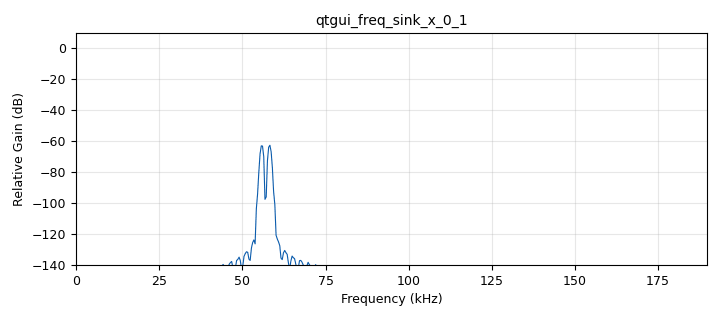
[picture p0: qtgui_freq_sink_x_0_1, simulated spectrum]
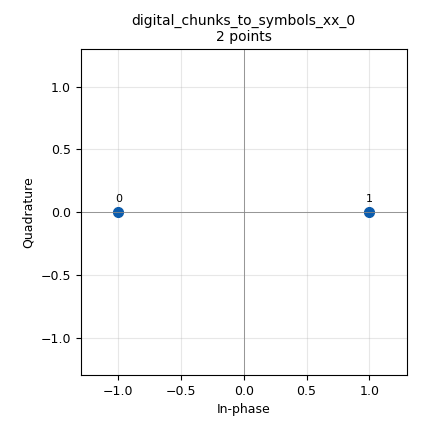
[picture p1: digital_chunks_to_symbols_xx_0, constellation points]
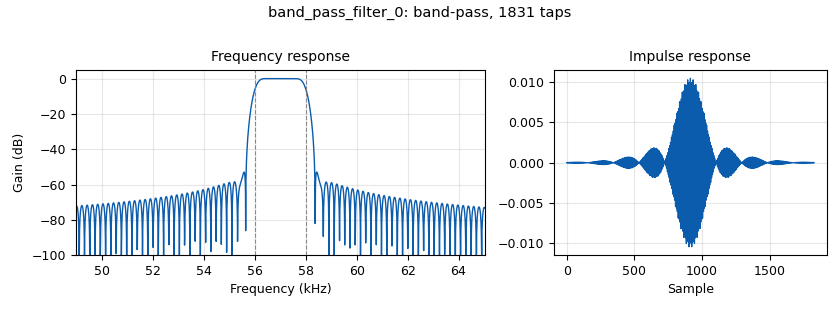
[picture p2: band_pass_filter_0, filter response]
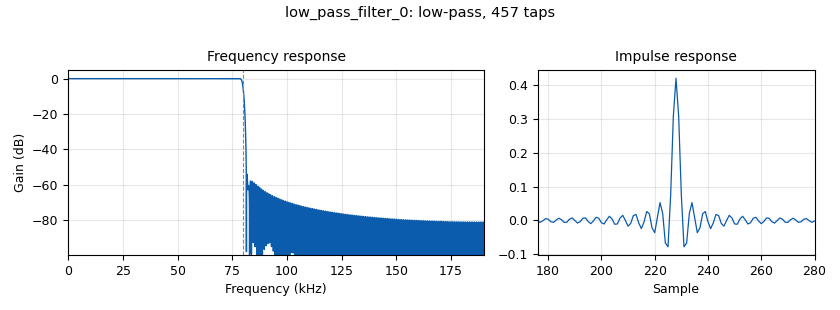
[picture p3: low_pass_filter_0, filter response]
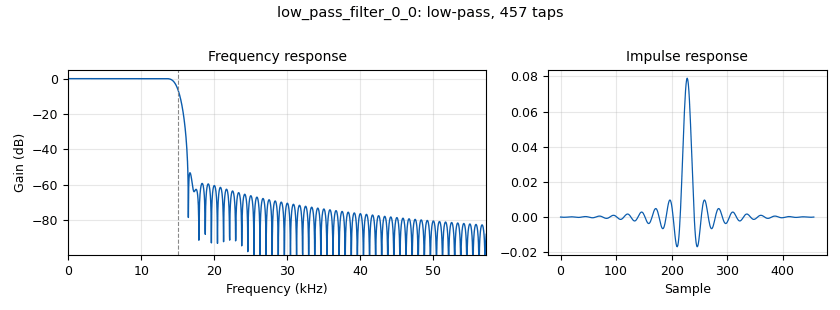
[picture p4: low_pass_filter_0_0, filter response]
options:
  parameters:
    category: RDS
    generate_options: qt_gui
    id: rds_tx
    output_language: python
    realtime_scheduling: '1'
  states: {}

blocks:
- name: audio_rate
  id: variable
  parameters:
    value: '44100'
  states: {}
- name: fm_max_dev
  id: variable
  parameters:
    value: 4.5*75e3
  states: {}
- name: freq
  id: variable
  parameters:
    value: 87.9e6
  states: {}
- name: input_gain
  id: variable
  parameters:
    value: '10e-6'
  states: {}
- name: outbuffer
  id: variable
  parameters:
    value: '128'
  states: {}
- name: pilot_gain
  id: variable_qtgui_range
  parameters:
    gui_hint: main_tab@2
    label: Stereo pilot gain
    start: '0'
    step: '1e-3'
    stop: '500e-3'
    value: '10e-4'
  states: {}
- name: stereo_gain
  id: variable_qtgui_range
  parameters:
    gui_hint: main_tab@2
    label: Stereo Gain
    start: '0'
    step: '1e-3'
    stop: '300e-2'
    value: '300e-3'
  states: {}
- name: usrp_rate
  id: variable
  parameters:
    value: 0.380e6
  states: {}
- name: usrp_sample_rate
  id: variable
  parameters:
    value: 1e6
  states: {}
- name: analog_fm_preemph_0
  id: analog_fm_preemph
  parameters:
    fh: '-1.0'
    samp_rate: '44100'
    tau: '50e-6'
  states: {}
- name: analog_fm_preemph_1
  id: analog_fm_preemph
  parameters:
    fh: '-1.0'
    samp_rate: '44100'
    tau: '50e-6'
  states: {}
- name: band_pass_filter_0
  id: band_pass_filter
  parameters:
    gain: '1'
    high_cutoff_freq: '58000'
    interp: '1'
    low_cutoff_freq: '56000'
    samp_rate: usrp_rate
    type: interp_fir_filter_fff
    width: '500'
    win: window.WIN_HAMMING
  states: {}
- name: blocks_multiply_const_vxx_0
  id: blocks_multiply_const_vxx
  parameters:
    const: '4'
    type: float
  states: {}
- name: blocks_multiply_const_vxx_0_0
  id: blocks_multiply_const_vxx
  parameters:
    const: '0.9'
    maxoutbuf: outbuffer
    type: float
  states: {}
- name: blocks_multiply_const_vxx_0_0_1
  id: blocks_multiply_const_vxx
  parameters:
    const: pilot_gain*10
    type: float
  states: {}
- name: blocks_multiply_const_xx_0
  id: blocks_multiply_const_xx
  parameters:
    const: '10E-2'
    type: float
  states: {}
- name: blocks_multiply_const_xx_1
  id: blocks_multiply_const_xx
  parameters:
    const: '30E-2'
    type: float
  states: {}
- name: blocks_multiply_xx_0
  id: blocks_multiply_xx
  parameters:
    type: float
  states: {}
- name: blocks_multiply_xx_0_0
  id: blocks_multiply_xx
  parameters:
    type: float
  states: {}
- name: blocks_wavfile_source_0
  id: blocks_wavfile_source
  parameters:
    file: C:\Users\szymo\Downloads\TRPZ_like_feeling.wav
    nchan: '2'
    repeat: 'True'
  states: {}
- name: digital_chunks_to_symbols_xx_0
  id: digital_chunks_to_symbols_xx
  parameters:
    dimension: '1'
    in_type: byte
    out_type: float
    symbol_table: '[-1, 1]'
  states: {}
- name: epy_block_0
  id: epy_block
  parameters:
    _source_code: |-
      import numpy as np
      from gnuradio import gr
      import datetime

      try:
          import pmt
      except ImportError:
          try:
              from gnuradio import pmt
          except ImportError:
              pass
      # -----------------------------

      class rds_encoder_simplified(gr.sync_block):
          """
          Simplified L2 RDS (Radio Data System) Encoder.
          Implements IEC 62106 standard framing and baseband bitstream generation.
          Supports dynamic asynchronous updates for PS (Program Service) and RT (Radio Text) via PMT.
          """
          def __init__(self, ps_name="MOJERADIO", radio_text="Test RDS transmission from GNU Radio"):
              gr.sync_block.__init__(self,
                  name='RDS Encoder Simple',
                  in_sig=None,
                  out_sig=[np.uint8]) # Output: Raw baseband bitstream (0s and 1s)

              # Register message port for runtime configuration (dynamic text updates)
              if 'pmt' in globals():
                  self.message_port_register_in(pmt.intern("rds in"))
                  self.set_msg_handler(pmt.intern("rds in"), self.handle_msg)

              # --- RDS PROTOCOL CONSTANTS & DEFAULTS ---
              self.PI = 0x3012         # Program Identification code (Hex)
              self.PTY = 10            # Program Type (10 = Pop Music)
              self.TP = True           # Traffic Program flag
              self.TA = False          # Traffic Announcement flag
              self.MS = True           # Music/Speech switch
              self.AF1 = 89.0          # Alternative Frequency
              
              # Checkword Offset Words for Block Synchronization (Standard IEC 62106)
              # Order: A, B, C, C', D
              self.OFFSET_WORDS = [0x0FC, 0x198, 0x168, 0x350, 0x1B4]

              # Active groups scheduling configuration
              self.active_groups = {
                  0: 1,  # Group 0A: Basic Tuning and Switching (PS)
                  1: 1,  # Group 1A: Program Item Number and PIN/ECC
                  2: 1,  # Group 2A: Radio Text (RT)
                  4: 1,  # Group 4A: Clock Time and Date (CT)
                  11: 1  # Group 11A: Open Data Application
              }
              
              # Internal state initialization
              self.ps_text = ""
              self.rt_text = ""
              self.set_ps_internal(ps_name)
              self.set_radiotext_internal(radio_text)

              self.d_g0_counter = 0
              self.d_g2_counter = 0
              self.buffers = [] 
              self.d_current_buffer_idx = 0
              self.d_buffer_bit_counter = 0
              
              # Pre-build the initial bitstream sequence
              self.rebuild()

          # --- STRING FORMATTING UTILS ---
          def set_ps_internal(self, text):
              """Formats the PS name to exactly 8 characters as per standard."""
              clean = str(text).upper().replace('\n', '')[:8]
              self.ps_text = clean.ljust(8)

          def set_radiotext_internal(self, text):
              """Formats the Radio Text to exactly 64 characters."""
              clean = str(text).replace('\n', '')[:64]
              self.rt_text = clean.ljust(64)

          # --- ASYNCHRONOUS MESSAGE HANDLER ---
          def handle_msg(self, msg):
              """
              Handles incoming PMT messages to modify RDS data without stopping the flowgraph.
              Accepts formats: 'ps <text>' or 'text <text>'.
              """
              if not pmt.is_pair(msg): return
              try:
                  inp = str(pmt.blob_data(pmt.cdr(msg)).tobytes().decode('ascii')).strip()
                  parts = inp.split(maxsplit=1)
                  cmd = parts[0].lower()
                  arg = parts[1] if len(parts) > 1 else ""
                  
                  if cmd == "ps":
                      self.set_ps_internal(arg)
                      self.rebuild()
                  elif cmd in ["text", "rt"]:
                      self.set_radiotext_internal(arg)
                      self.rebuild()
              except:
                  pass # Failsafe against malformed PMT payloads

          # --- L2 FRAMING & ERROR CORRECTION ---
          def calc_syndrome(self, message, mlen):
              """
              Calculates the 10-bit checkword (CRC/Syndrome) using standard RDS generator polynomial.
              Generator Polynomial: g(x) = x^10 + x^8 + x^7 + x^5 + x^4 + x^3 + 1 (0x5B9)
              """
              reg = 0
              poly = 0x5B9 
              plen = 10
              # Polynomial division algorithm
              for i in range(mlen, 0, -1):
                  reg = (reg << 1) | ((message >> (i - 1)) & 0x01)
                  if (reg & (1 << plen)):
                      reg = reg ^ poly
              for i in range(plen, 0, -1):
                  reg = reg << 1
                  if (reg & (1 << plen)):
                      reg = reg ^ poly
              return reg & ((1 << plen) - 1)

          def encode_af(self, af):
              """Encodes Alternative Frequency (Method A)."""
              if 87.6 <= af <= 107.9: return int(round((af - 87.5) * 10))
              return 0

          # --- BITSTREAM RECONSTRUCTION ---
          def rebuild(self):
              """
              Constructs the complete sequence of physical bits ready for modulation.
              Schedules groups according to priority (e.g., PS needs higher repetition rate than RT).
              """
              self.buffers = []
              
              # 32 time-slot scheduler loop
              for i in range(32):
                  g_type = i % 16
                  is_B = (i >= 16) 
                  
                  if self.active_groups.get(g_type, 0) == 1:
                      repeats = 1
                      if g_type == 0: repeats = 4    # PS needs frequent broadcasting
                      elif g_type == 2: repeats = 16 # RT requires 16 segments to transmit 64 chars
                      
                      for _ in range(repeats):
                          self.create_group(g_type, is_B)
              
              self.d_current_buffer_idx = 0

          def create_group(self, group_type, AB_flag):
              """Assembles a 104-bit RDS group consisting of 4 blocks (26 bits each)."""
              infoword = [0, 0, 0, 0] # 4 words, 16 bits each
              
              # Block 1: PI Code
              infoword[0] = self.PI
              
              # Block 2: Header (Group Type, Traffic Codes, PTY)
              # Structure: [GroupType(4)][AB(1)][TP(1)][PTY(5)][Remaining(5)]
              infoword[1] = ((group_type & 0xF) << 12) | \
                            ((1 if AB_flag else 0) << 11) | \
                            ((1 if self.TP else 0) << 10) | \
                            ((self.PTY & 0x1F) << 5)

              # Group-specific data payload formatting
              if group_type == 0: self.prepare_group0(infoword, AB_flag)
              elif group_type == 1: self.prepare_group1(infoword)
              elif group_type == 2: self.prepare_group2(infoword, AB_flag)
              elif group_type == 4: self.prepare_group4(infoword)
              elif group_type == 11: self.prepare_group11(infoword)

              # Calculate CRC and apply Offset Words (A, B, C/C', D)
              final_block_bits = np.zeros(104, dtype=np.uint8)
              
              for i in range(4):
                  # 1. CRC for 16 payload bits
                  crc = self.calc_syndrome(infoword[i], 16)
                  # 2. Assemble 26-bit block (16 payload + 10 checkword)
                  raw = ((infoword[i] & 0xFFFF) << 10) | (crc & 0x3FF)
                  # 3. Select appropriate offset word for synchronization
                  off_idx = i
                  if i == 2 and AB_flag: off_idx = 3 # Offset C' for Version B
                  elif i == 3: off_idx = 4           # Offset D
                  
                  # 4. XOR masking
                  val_with_offset = raw ^ self.OFFSET_WORDS[off_idx]

                  # 5. Serialize to bits (Big Endian)
                  for b in range(26):
                      bit = (val_with_offset >> (25 - b)) & 0x1
                      final_block_bits[i*26 + b] = bit
              
              self.buffers.append(final_block_bits)

          # --- GROUP PAYLOAD HANDLERS ---
          def prepare_group0(self, info, AB):
              """Group 0A: Basic tuning, TA/MS flags, and PS Name segments."""
              info[1] |= ((1 if self.TA else 0) << 4) | ((1 if self.MS else 0) << 3)
              info[1] |= (self.d_g0_counter & 0x3)
              if self.d_g0_counter == 3: info[1] |= 0x4
              
              # Block 3: AF
              info[2] = (225 << 8) | (self.encode_af(self.AF1) & 0xFF)
              
              # Block 4: 2 characters of PS Name
              idx = self.d_g0_counter * 2
              c1 = ord(self.ps_text[idx])
              c2 = ord(self.ps_text[idx+1])
              info[3] = (c1 << 8) | c2
              
              self.d_g0_counter = (self.d_g0_counter + 1) % 4

          def prepare_group2(self, info, AB):
              """Group 2A: Radio Text (RT) segments."""
              info[1] |= (self.d_g2_counter & 0xF)
              
              # Blocks 3 & 4: 4 characters of Radio Text
              idx = self.d_g2_counter * 4
              c1, c2 = ord(self.rt_text[idx]), ord(self.rt_text[idx+1])
              c3, c4 = ord(self.rt_text[idx+2]), ord(self.rt_text[idx+3])
              
              info[2] = (c1 << 8) | c2
              info[3] = (c3 << 8) | c4
              
              self.d_g2_counter = (self.d_g2_counter + 1) % 16

          def prepare_group4(self, info):
              """Group 4A: Clock Time (CT) calculated via Modified Julian Date."""
              now = datetime.datetime.utcnow()
              Y, M, D = now.year, now.month, now.day
              h, m = now.hour, now.minute
              
              L = 1 if (M <= 2) else 0
              mjd = 14956 + D + int((Y - L) * 365.25) + int((M + 1 + L * 12) * 30.6001)
              
              info[1] |= ((mjd >> 15) & 0x3)
              info[2] = (((mjd >> 7) & 0xFF) << 8) | ((mjd & 0x7F) << 1) | ((h >> 4) & 0x1)
              info[3] = ((h & 0xF) << 12) | (((m >> 2) & 0xF) << 8) | ((m & 0x3) << 6)

          def prepare_group1(self, info):
              info[2], info[3] = 0x80E0, 0x0000
              
          def prepare_group11(self, info):
              info[1] |= 0x1C8
              info[2], info[3] = 0x2038, 0x4456

          # --- DSP WORK STREAM ---
          def work(self, input_items, output_items):
              """
              High-throughput GNU Radio work function.
              Avoids slow Python 'for' loops in favor of vectorized NumPy array slicing.
              """
              out = output_items[0]
              n_out = len(out)
              if not self.buffers: return 0

              written = 0
              while written < n_out:
                  current_buf = self.buffers[self.d_current_buffer_idx]
                  available = len(current_buf) - self.d_buffer_bit_counter
                  to_write = min(available, n_out - written)
                  
                  # Vectorized memory block copy
                  out[written : written + to_write] = current_buf[self.d_buffer_bit_counter : self.d_buffer_bit_counter + to_write]
                  
                  written += to_write
                  self.d_buffer_bit_counter += to_write
                  
                  if self.d_buffer_bit_counter >= len(current_buf):
                      self.d_buffer_bit_counter = 0
                      self.d_current_buffer_idx = (self.d_current_buffer_idx + 1) % len(self.buffers)

              return n_out
    ps_name: '"TRPZ"'
    radio_text: '"TEST RDS"'
  states: {}
- name: epy_block_1
  id: epy_block
  parameters:
    _source_code: |
      import numpy as np
      from gnuradio import gr
      import pmt
      import math
      import datetime
      import time

      class rds_encoder_impl(gr.sync_block):
          def __init__(self, pty_locale=0, pty=0, ms=True, ps="GR-RDS", af1=89.0, 
                       tp=True, ta=False, pi_country_code=0, pi_coverage_area=0, 
                       pi_ref_num=0, radiotext="GNU Radio RDS Encoder", max_latency=-1):
              
              gr.sync_block.__init__(self,
                  name='RDS Encoder',
                  in_sig=None,
                  out_sig=[np.uint8]) # Wyjście to surowe bity 0/1, nie floaty Manchester!

              # Rejestracja portów wiadomości
              self.message_port_register_in(pmt.intern("rds in"))
              self.set_msg_handler(pmt.intern("rds in"), self.handle_msg)
              
              # Stałe RDS (Polynomial 0x5B9) i Offsety
              self.OFFSET_WORDS = [0x0FC, 0x198, 0x168, 0x350, 0x1B4] # A, B, C, C', D
              self.PTY_LOCALES = {0: "RBDS (US)", 1: "RDS (EU)"} # Uproszczone dla logiki

              # Konfiguracja początkowa (odpowiednik konstruktora C++)
              self.pty_locale = pty_locale
              
              if pi_country_code == 0:
                  self.PI = pi_ref_num
              else:
                  self.PI = ((pi_country_code & 0xF) << 12) | \
                            ((pi_coverage_area & 0xF) << 8) | \
                            (pi_ref_num & 0xFF)
              
              self.PTY = pty
              self.TP = tp
              self.TA = ta
              self.MS = ms
              self.AF1 = af1
              
              # Inne flagi
              self.DP = 3
              self.extent = 2
              self.event = 1340
              self.location = 11023
              
              # Bufory tekstowe
              self.set_radiotext_internal(radiotext)
              self.set_ps_internal(ps)
              
              # Konfiguracja grup (jak w C++: groups[i] = 1 oznacza aktywność)
              self.active_groups = {}
              for g in [0, 1, 2, 3, 4, 8, 11]:
                  self.active_groups[g] = 1
                  
              # Liczniki stanu
              self.d_g0_counter = 0
              self.d_g2_counter = 0
              self.d_g3_counter = 0
              
              # Pamięć bufora wyjściowego
              self.buffers = [] # Lista list bitów (nbuffers * 104)
              self.d_current_buffer_idx = 0
              self.d_buffer_bit_counter = 0
              
              # Budowa początkowa
              self.rebuild()

          def calc_syndrome(self, message, mlen):
              """Oblicza CRC (Syndrome) zgodnie z Annex B standardu RDS"""
              reg = 0
              poly = 0x5B9
              plen = 10
              
              for i in range(mlen, 0, -1):
                  reg = (reg << 1) | ((message >> (i - 1)) & 0x01)
                  if (reg & (1 << plen)):
                      reg = reg ^ poly
                      
              for i in range(plen, 0, -1):
                  reg = reg << 1
                  if (reg & (1 << plen)):
                      reg = reg ^ poly
                      
              return reg & ((1 << plen) - 1)

          def encode_af(self, af):
              """Implementacja AF Method A (Standard str. 41)"""
              if 87.6 <= af <= 107.9:
                  return int(round((af - 87.5) * 10))
              elif 153 <= af <= 279:
                  return int(round((af - 144) / 9))
              elif 531 <= af <= 1602:
                  return int(round((af - 531) / 9 + 16))
              return 0 # Invalid

          def set_radiotext_internal(self, text):
              self.rt_text = text[:64].ljust(64) # Max 64 znaki

          def set_ps_internal(self, ps):
              self.ps_text = ps[:8].ljust(8)     # Max 8 znaków

          def handle_msg(self, msg):
              """Parser wiadomości tekstowych, klon logiki Boost Spirit z C++"""
              if not pmt.is_pair(msg): return
              
              blob = pmt.cdr(msg)
              # Konwersja blob na string
              try:
                  inp_str = str(pmt.blob_data(blob).tobytes().decode('ascii')).strip()
              except:
                  return

              print(f"[RDS] Otrzymano komendę: {inp_str}")
              parts = inp_str.split(maxsplit=1)
              if not parts: return
              
              cmd = parts[0].lower()
              arg = parts[1] if len(parts) > 1 else ""

              rebuild_needed = True

              if cmd == "ps":
                  self.set_ps_internal(arg)
              elif cmd == "text":
                  self.set_radiotext_internal(arg)
              elif cmd == "pty":
                  try:
                      val = int(arg, 0) # handles 0x hex
                      self.PTY = val
                  except: pass
              elif cmd == "pi":
                  try:
                      val = int(arg, 0)
                      self.PI = val
                  except: pass
              elif cmd == "ta":
                  self.TA = (arg.lower() in ['1', 'true', 'yes'])
              elif cmd == "tp":
                  self.TP = (arg.lower() in ['1', 'true', 'yes'])
              elif cmd == "ms":
                  self.MS = (arg.lower() in ['1', 'true', 'yes'])
              else:
                  print(f"[RDS] Nieznana komenda: {cmd}")
                  rebuild_needed = False
              
              if rebuild_needed:
                  self.rebuild()

          def rebuild(self):
              """Główna logika planowania sekwencji grup"""
              self.buffers = [] # Czyścimy bufory
              
              # Logika sekwencjonowania z C++ (count_groups i pętle)
              # Iterujemy przez 32 możliwe sloty
              for i in range(32):
                  g_type = i % 16
                  is_B = (i >= 16)
                  
                  if self.active_groups.get(i, 0) == 1:
                      # Jeśli grupa jest aktywna, decydujemy ile razy ją powtórzyć
                      repeats = 1
                      if g_type == 0: repeats = 4
                      elif g_type == 2: repeats = 16 # Radiotext potrzebuje czasu na scroll
                      elif g_type == 3: repeats = 2
                      
                      for _ in range(repeats):
                          self.create_group(g_type, is_B)
              
              self.d_current_buffer_idx = 0
              # print(f"[RDS] Rebuild complete. Buffers: {len(self.buffers)}")

          def create_group(self, group_type, AB_flag):
              """Tworzy 4 bloki (104 bity) dla danej grupy"""
              # Block 1: PI Code (zawsze)
              infoword = [0, 0, 0, 0]
              checkword = [0, 0, 0, 0]
              block = [0, 0, 0, 0]
              
              infoword[0] = self.PI
              # Block 2 Header: Group Type | AB | TP | PTY
              infoword[1] = ((group_type & 0xF) << 12) | \
                            ((1 if AB_flag else 0) << 11) | \
                            ((1 if self.TP else 0) << 10) | \
                            ((self.PTY & 0x1F) << 5)

              # Dispatch do konkretnych handlerów grup
              if group_type == 0:
                  self.prepare_group0(infoword, AB_flag)
              elif group_type == 1:
                  self.prepare_group1a(infoword)
              elif group_type == 2:
                  self.prepare_group2(infoword, AB_flag)
              elif group_type == 3:
                  self.prepare_group3a(infoword)
              elif group_type == 4:
                  self.prepare_group4a(infoword)
              elif group_type == 8:
                  self.prepare_group8a(infoword)
              elif group_type == 11:
                  self.prepare_group11a(infoword)
              else:
                  # Pusta/nieobsługiwana
                  pass

              # Obliczanie CRC i dodawanie Offsetów
              for i in range(4):
                  checkword[i] = self.calc_syndrome(infoword[i], 16)
                  raw_block = ((infoword[i] & 0xFFFF) << 10) | (checkword[i] & 0x3FF)
                  
                  offset_idx = i
                  if i == 2 and AB_flag: # Offset C' (index 3 w tablicy offsetow C++)
                      offset_idx = 3 # C'
                  elif i == 3:
                      offset_idx = 4 # D
                  
                  # Tablica OFFSET_WORDS ma 5 elementow: A, B, C, C', D
                  # mapowanie i:0->A, 1->B, 2->C(lub C'), 3->D
                  xor_val = 0
                  if i == 0: xor_val = self.OFFSET_WORDS[0]
                  elif i == 1: xor_val = self.OFFSET_WORDS[1]
                  elif i == 2: xor_val = self.OFFSET_WORDS[3] if AB_flag else self.OFFSET_WORDS[2]
                  elif i == 3: xor_val = self.OFFSET_WORDS[4]
                  
                  block[i] = raw_block ^ xor_val

              # Pakowanie bitów do bufora (104 bity)
              bit_buffer = np.zeros(104, dtype=np.uint8)
              for i in range(4): # 4 bloki
                  val = block[i]
                  for bit in range(26): # 26 bitów na blok
                      # Big endian bits logic z prepare_buffer w C++
                      is_set = (val >> (25 - bit)) & 0x01
                      bit_buffer[i * 26 + bit] = is_set
                      
              self.buffers.append(bit_buffer)

          # --- Specyficzne Implementacje Grup ---

          def prepare_group0(self, infoword, AB):
              # TA, MS
              infoword[1] |= ((1 if self.TA else 0) << 4)
              infoword[1] |= ((1 if self.MS else 0) << 3)
              # DI (Stereo decoder info) - hardcoded sequence for simple stereo
              infoword[1] |= (self.d_g0_counter & 0x3)
              if self.d_g0_counter == 3: # Stereo flag
                   infoword[1] |= 0x4 # bit 2 (d0)
                   
              # Block 3: AF or PI
              if not AB:
                  # AF
                  af_code = self.encode_af(self.AF1)
                  infoword[2] = (225 << 8) | (af_code & 0xFF)
              else:
                  infoword[2] = self.PI
                  
              # Block 4: PS Segment
              c1 = ord(self.ps_text[2 * self.d_g0_counter])
              c2 = ord(self.ps_text[2 * self.d_g0_counter + 1])
              infoword[3] = (c1 << 8) | c2
              
              self.d_g0_counter = (self.d_g0_counter + 1) % 4

          def prepare_group2(self, infoword, AB):
              # RT Segment index (4 bity)
              infoword[1] |= (self.d_g2_counter & 0xF)
              # Flag A/B change - w tym kodzie statyczne, w C++ zmienia się przy nowym tekście
              # Tutaj upraszczamy, zakładając flagę 0 w bicie 4 (AB flag text)
              
              idx = self.d_g2_counter
              if not AB: # Group 2A
                  c1 = ord(self.rt_text[idx*4])
                  c2 = ord(self.rt_text[idx*4+1])
                  infoword[2] = (c1 << 8) | c2
                  
                  c3 = ord(self.rt_text[idx*4+2])
                  c4 = ord(self.rt_text[idx*4+3])
                  infoword[3] = (c3 << 8) | c4
              else: # Group 2B
                  infoword[2] = self.PI
                  c1 = ord(self.rt_text[idx*2])
                  c2 = ord(self.rt_text[idx*2+1])
                  infoword[3] = (c1 << 8) | c2
                  
              self.d_g2_counter = (self.d_g2_counter + 1) % 16

          def prepare_group1a(self, infoword):
              infoword[2] = (0x80 << 8) | 0xE0 # ECC, Variant 0
              infoword[3] = 0

          def prepare_group3a(self, infoword):
              # Open Data Application (AID)
              if self.d_g3_counter == 1:
                  infoword[1] |= (0x31D0 & 0x1F)
                  infoword[2] = 0x6280
                  infoword[3] = 0xCD46
              else:
                  infoword[1] |= (0x31D0 & 0x1F)
                  infoword[2] = 0x0066
                  infoword[3] = 0xCD46
              self.d_g3_counter = (self.d_g3_counter + 1) % 2

          def prepare_group4a(self, infoword):
              # Clock Time (CT) and Date
              now = datetime.datetime.utcnow()
              Y = now.year
              M = now.month
              D = now.day
              h = now.hour
              m = now.minute
              
              # Obliczenia MJD (Modified Julian Date) wg standardu RDS
              L = 1 if (M == 1 or M == 2) else 0
              mjd = 14956 + D + int((Y - L) * 365.25) + int((M + 1 + L * 12) * 30.6001)
              
              # Local time offset (uproszczone: 0)
              toffset = 0 
              
              infoword[1] |= ((mjd >> 15) & 0x3)
              infoword[2] = (((mjd >> 7) & 0xFF) << 8) | \
                            ((mjd & 0x7F) << 1) | \
                            ((h >> 4) & 0x1)
              infoword[3] = ((h & 0xF) << 12) | \
                            (((m >> 2) & 0xF) << 8) | \
                            ((m & 0x3) << 6) | \
                            ((0 if toffset > 0 else 1) << 5) | \
                            (abs(toffset * 2) & 0x1F)

          def prepare_group8a(self, infoword):
              # TMC (Traffic Message Channel) placeholder
              infoword[1] |= (1 << 3) | (self.DP & 0x7)
              infoword[2] = (1 << 15) | ((self.extent & 0x7) << 11) | (self.event & 0x7FF)
              infoword[3] = self.location

          def prepare_group11a(self, infoword):
              infoword[1] |= (0xB1C8 & 0x1F)
              infoword[2] = 0x2038
              infoword[3] = 0x4456

          def work(self, input_items, output_items):
              out = output_items[0]
              n_out = len(out)
              
              # Jeśli bufor RDS nie jest jeszcze gotowy, nic nie wysyłaj
              if not self.buffers:
                  return 0
                  
              # Pobierz aktualny bufor bitów (104 bity)
              current_buf = self.buffers[self.d_current_buffer_idx]
              buf_len = len(current_buf)
              
              written = 0
              
              # Zamiast wolnej pętli 'for', używamy kopiowania blokowego (Slicing)
              while written < n_out:
                  # Ile bitów zostało w obecnym 'current_buf' do wysłania?
                  available = buf_len - self.d_buffer_bit_counter
                  
                  # Ile możemy zapisać w tym cyklu (nie więcej niż miejsce w wyjściu i nie więcej niż dostępne)
                  to_write = min(available, n_out - written)
                  
                  # SZYBKIE KOPIOWANIE BLOKU DANYCH (Vector copy)
                  out[written : written + to_write] = current_buf[self.d_buffer_bit_counter : self.d_buffer_bit_counter + to_write]
                  
                  written += to_write
                  self.d_buffer_bit_counter += to_write
                  
                  # Jeśli wysłaliśmy cały bieżący bufor RDS (104 bity), przełączamy na następny
                  if self.d_buffer_bit_counter >= buf_len:
                      self.d_buffer_bit_counter = 0
                      self.d_current_buffer_idx = (self.d_current_buffer_idx + 1) % len(self.buffers)
                      current_buf = self.buffers[self.d_current_buffer_idx]
                      buf_len = len(current_buf)
                      
                      # (Opcjonalnie) Tu można wstawić logikę odświeżania czasu co minutę
                      # if self.d_current_buffer_idx == 0: self.rebuild() 

              return n_out
    af1: '88900000'
    max_latency: '12'
    ms: 'True'
    pi_country_code: '3'
    pi_coverage_area: '2'
    pi_ref_num: '1'
    ps: '"Radio Sraka"'
    pty: '10'
    pty_locale: '1'
    radiotext: '"Gramy starego"'
    ta: 'False'
    tp: 'True'
  states: {state: disabled}
- name: gr_add_xx_0
  id: blocks_add_xx
  parameters:
    type: float
  states: {}
- name: gr_add_xx_1
  id: blocks_add_xx
  parameters:
    maxoutbuf: outbuffer
    num_inputs: '4'
    type: float
  states: {}
- name: gr_diff_encoder_bb_0
  id: digital_diff_encoder_bb
  parameters:
    coding: digital.DIFF_DIFFERENTIAL
    maxoutbuf: outbuffer
    modulus: '2'
  states: {}
- name: gr_frequency_modulator_fc_0
  id: analog_frequency_modulator_fc
  parameters:
    maxoutbuf: outbuffer
    sensitivity: 2*math.pi*fm_max_dev/usrp_rate
  states: {}
- name: gr_map_bb_1
  id: digital_map_bb
  parameters:
    map: '[1,2]'
    maxoutbuf: outbuffer
  states: {}
- name: gr_multiply_xx_0
  id: blocks_multiply_xx
  parameters:
    maxoutbuf: outbuffer
    type: float
  states: {}
- name: gr_multiply_xx_1
  id: blocks_multiply_xx
  parameters:
    type: float
  states: {}
- name: gr_sig_source_x_0
  id: analog_sig_source_x
  parameters:
    amp: '1'
    freq: 38e3
    offset: '0'
    phase: '0'
    samp_rate: usrp_rate
    type: float
    waveform: analog.GR_SIN_WAVE
  states: {}
- name: gr_sig_source_x_0_1
  id: analog_sig_source_x
  parameters:
    amp: '1'
    freq: 19e3
    offset: '0'
    phase: '0'
    samp_rate: usrp_rate
    type: float
    waveform: analog.GR_SIN_WAVE
  states: {}
- name: gr_sub_xx_0
  id: blocks_sub_xx
  parameters:
    type: float
  states: {}
- name: gr_unpack_k_bits_bb_0
  id: blocks_unpack_k_bits_bb
  parameters:
    k: '2'
    maxoutbuf: outbuffer
  states: {}
- name: iio_pluto_sink_0
  id: iio_pluto_sink
  parameters:
    attenuation1: '5'
    bandwidth: '200000'
    buffer_size: '32768'
    cyclic: 'False'
    filter_source: '''Auto'''
    frequency: '90500000'
    samplerate: int(usrp_sample_rate)
    type: fc32
    uri: ip:192.168.2.1
  states: {}
- name: import_0
  id: import
  parameters:
    imports: import math
  states: {}
- name: low_pass_filter_0
  id: low_pass_filter
  parameters:
    cutoff_freq: min(80e3,usrp_rate/2)
    gain: '1'
    interp: '1'
    samp_rate: usrp_rate
    type: interp_fir_filter_fff
    width: 2e3
    win: window.WIN_HAMMING
  states: {}
- name: low_pass_filter_0_0
  id: low_pass_filter
  parameters:
    cutoff_freq: 15e3
    gain: '1'
    interp: '1'
    samp_rate: usrp_rate
    type: interp_fir_filter_fff
    width: 2e3
    win: window.WIN_HAMMING
  states: {}
- name: low_pass_filter_0_0_0
  id: low_pass_filter
  parameters:
    cutoff_freq: 15e3
    gain: '1'
    interp: '1'
    samp_rate: usrp_rate
    type: interp_fir_filter_fff
    width: 2e3
    win: window.WIN_HAMMING
  states: {}
- name: main_tab
  id: qtgui_tab_widget
  parameters:
    label0: Spectrum
    label1: Waterfall
    label2: Levels
    num_tabs: '3'
  states: {}
- name: note_5
  id: note
  parameters:
    note: Needs to be above 150k
  states: {}
- name: qtgui_freq_sink_x_0
  id: qtgui_freq_sink_x
  parameters:
    bw: usrp_rate
    fc: '0'
    fftsize: '1024'
    freqhalf: 'False'
    grid: 'True'
    gui_hint: main_tab@0
    showports: 'True'
    type: float
  states: {}
- name: qtgui_freq_sink_x_0_1
  id: qtgui_freq_sink_x
  parameters:
    bw: usrp_rate
    fc: '0'
    fftsize: '1024'
    freqhalf: 'False'
    grid: 'True'
    gui_hint: main_tab@0
    showports: 'True'
    type: float
  states: {}
- name: qtgui_freq_sink_x_0_1_0
  id: qtgui_freq_sink_x
  parameters:
    bw: usrp_rate
    fc: '0'
    fftsize: '1024'
    freqhalf: 'False'
    grid: 'True'
    gui_hint: main_tab@0
    showports: 'True'
    type: float
  states: {state: disabled}
- name: qtgui_waterfall_sink_x_0
  id: qtgui_waterfall_sink_x
  parameters:
    bw: usrp_rate
    fc: '0'
    fftsize: '1024'
    freqhalf: 'False'
    grid: 'True'
    gui_hint: main_tab@1
    type: float
  states: {}
- name: rational_resampler_xxx_0
  id: rational_resampler_xxx
  parameters:
    decim: int(audio_rate/1e2)
    interp: int(usrp_rate/1e2)
    taps: ''
    type: fff
  states: {}
- name: rational_resampler_xxx_0_0
  id: rational_resampler_xxx
  parameters:
    decim: int(audio_rate/1e2)
    interp: int(usrp_rate/1e2)
    taps: ''
    type: fff
  states: {}
- name: rational_resampler_xxx_1
  id: rational_resampler_xxx
  parameters:
    decim: int(usrp_rate/10000)
    interp: int(usrp_sample_rate/1e4)
    taps: ''
    type: ccc
  states: {}
- name: root_raised_cosine_filter_0
  id: root_raised_cosine_filter
  parameters:
    alpha: '1'
    gain: '1'
    interp: '160'
    ntaps: 11*160
    samp_rate: usrp_rate
    sym_rate: '2375'
    type: interp_fir_filter_fff
  states: {}

connections:
- [analog_fm_preemph_0, '0', rational_resampler_xxx_0, '0']
- [analog_fm_preemph_1, '0', rational_resampler_xxx_0_0, '0']
- [band_pass_filter_0, '0', blocks_multiply_const_vxx_0, '0']
- [blocks_multiply_const_vxx_0, '0', gr_multiply_xx_0, '0']
- [blocks_multiply_const_vxx_0, '0', qtgui_freq_sink_x_0_1_0, '0']
- [blocks_multiply_const_vxx_0_0, '0', gr_add_xx_1, '0']
- [blocks_multiply_const_vxx_0_0_1, '0', gr_add_xx_1, '1']
- [blocks_multiply_const_xx_0, '0', low_pass_filter_0_0, '0']
- [blocks_multiply_const_xx_1, '0', low_pass_filter_0_0_0, '0']
- [blocks_multiply_xx_0, '0', blocks_multiply_xx_0_0, '0']
- [blocks_multiply_xx_0_0, '0', band_pass_filter_0, '0']
- [blocks_wavfile_source_0, '0', analog_fm_preemph_0, '0']
- [blocks_wavfile_source_0, '1', analog_fm_preemph_1, '0']
- [digital_chunks_to_symbols_xx_0, '0', root_raised_cosine_filter_0, '0']
- [epy_block_0, '0', gr_diff_encoder_bb_0, '0']
- [epy_block_1, '0', gr_diff_encoder_bb_0, '0']
- [gr_add_xx_0, '0', blocks_multiply_const_xx_0, '0']
- [gr_add_xx_1, '0', low_pass_filter_0, '0']
- [gr_add_xx_1, '0', qtgui_freq_sink_x_0, '0']
- [gr_diff_encoder_bb_0, '0', gr_map_bb_1, '0']
- [gr_frequency_modulator_fc_0, '0', rational_resampler_xxx_1, '0']
- [gr_map_bb_1, '0', gr_unpack_k_bits_bb_0, '0']
- [gr_multiply_xx_0, '0', blocks_multiply_const_vxx_0_0, '0']
- [gr_multiply_xx_0, '0', qtgui_freq_sink_x_0_1, '0']
- [gr_multiply_xx_1, '0', gr_add_xx_1, '3']
- [gr_sig_source_x_0, '0', gr_multiply_xx_1, '1']
- [gr_sig_source_x_0_1, '0', blocks_multiply_const_vxx_0_0_1, '0']
- [gr_sig_source_x_0_1, '0', blocks_multiply_xx_0, '0']
- [gr_sig_source_x_0_1, '0', blocks_multiply_xx_0, '1']
- [gr_sig_source_x_0_1, '0', blocks_multiply_xx_0_0, '1']
- [gr_sub_xx_0, '0', blocks_multiply_const_xx_1, '0']
- [gr_unpack_k_bits_bb_0, '0', digital_chunks_to_symbols_xx_0, '0']
- [low_pass_filter_0, '0', gr_frequency_modulator_fc_0, '0']
- [low_pass_filter_0, '0', qtgui_waterfall_sink_x_0, '0']
- [low_pass_filter_0_0, '0', gr_add_xx_1, '2']
- [low_pass_filter_0_0_0, '0', gr_multiply_xx_1, '0']
- [rational_resampler_xxx_0, '0', gr_add_xx_0, '0']
- [rational_resampler_xxx_0, '0', gr_sub_xx_0, '0']
- [rational_resampler_xxx_0_0, '0', gr_add_xx_0, '1']
- [rational_resampler_xxx_0_0, '0', gr_sub_xx_0, '1']
- [rational_resampler_xxx_1, '0', iio_pluto_sink_0, '0']
- [root_raised_cosine_filter_0, '0', gr_multiply_xx_0, '1']

metadata:
  file_format: 1
  grc_version: 3.10.12.0
